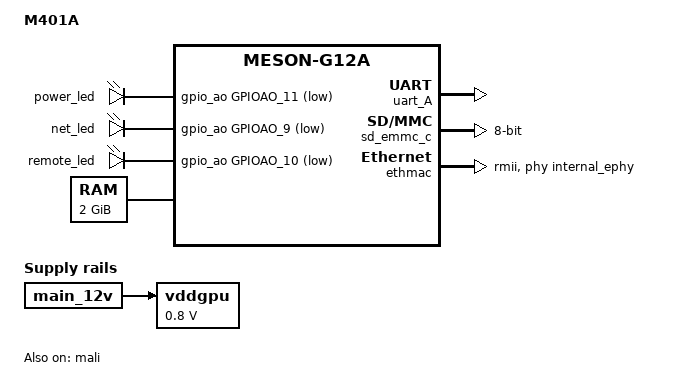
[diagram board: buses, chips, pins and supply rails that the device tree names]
// SPDX-License-Identifier: (GPL-2.0+ OR MIT)
/*
 * Copyright (c) 2018 Amlogic, Inc. All rights reserved.
 * Create by janko888 2022/11/27
 */
 
/dts-v1/;

#include "meson-g12a-u200.dts"

/ {
	compatible = "m401a", "amlogic,g12a";
	model = "M401A";
	
	aliases {
		serial1 = &uart_A;
	};
	
	vddgpu: regulator-vddgpu {
		compatible = "regulator-fixed";
		regulator-name = "mali";
		regulator-min-microvolt = <800000>;
		regulator-max-microvolt = <800000>;
		vin-supply = <&main_12v>;
		regulator-boot-on;
		regulator-always-on;
	};
	
	leds {
		compatible = "gpio-leds";

		power_led {
			led_name = "power_led";
			gpios = <&gpio_ao GPIOAO_11 GPIO_ACTIVE_LOW>;
			default-state = "on";
		};

		net_led {
			led_name = "net_led";
			gpios = <&gpio_ao GPIOAO_9 GPIO_ACTIVE_LOW>;
			default-state = "off";
			linux,default-trigger = "0.0:00:link";
		};

		remote_led {
			led_name = "remote_led";
			gpios = <&gpio_ao GPIOAO_10 GPIO_ACTIVE_LOW>;
			default-state = "off";
			linux,default-trigger = "rc-feedback";
		};
	};

	memory@0 {
		device_type = "memory";
		reg = <0x0 0x0 0x0 0x80000000>;
	};
};

&uart_A {
	status = "okay";
	pinctrl-0 = <&uart_a_pins>, <&uart_a_cts_rts_pins>;
	uart-has-rtscts;
	pinctrl-names = "default";
};

&mali {
	status = "okay";
	mali-supply = <&vddgpu>;
};

/* SD card */
/* No SD card in M401A */
&sd_emmc_b {
	status = "disabled";
	bus-width = <4>;
	cap-sd-highspeed;
	max-frequency = <50000000>;
};

/* eMMC */
&sd_emmc_c {
	status = "okay";
	bus-width = <8>;
	cap-mmc-highspeed;
	mmc-ddr-1_8v;
	mmc-hs200-1_8v;
	max-frequency = <100000000>;
};

/* CPU Overclock */
&cpu_opp_table {
	opp-100000000 {
		opp-hz = /bits/ 64 <100000000>;
		opp-microvolt = <731000>;
	};

	opp-250000000 {
		opp-hz = /bits/ 64 <250000000>;
		opp-microvolt = <731000>;
	};
	
	opp-500000000 {
		opp-hz = /bits/ 64 <500000000>;
		opp-microvolt = <731000>;
	};

	opp-667000000 {
		opp-hz = /bits/ 64 <667000000>;
		opp-microvolt = <731000>;
	};
	
	opp-1000000000 {
		opp-hz = /bits/ 64 <1000000000>;
		opp-microvolt = <731000>;
	};

	opp-1200000000 {
		opp-hz = /bits/ 64 <1200000000>;
		//opp-microvolt = <731000>;
		opp-microvolt = <761000>;
	};

	opp-1398000000 {
		opp-hz = /bits/ 64 <1398000000>;
		//opp-microvolt = <761000>;
		opp-microvolt = <791000>;
	};

	opp-1512000000 {
		opp-hz = /bits/ 64 <1512000000>;
		//opp-microvolt = <791000>;
		opp-microvolt = <831000>;
	};

	opp-1608000000 {
		opp-hz = /bits/ 64 <1608000000>;
		//opp-microvolt = <831000>;
		opp-microvolt = <871000>;
	};

	opp-1704000000 {
		opp-hz = /bits/ 64 <1704000000>;
		//opp-microvolt = <861000>;
		opp-microvolt = <921000>;
	};
	
	/* some soc has crash under 1800 */
	opp-1800000000 {
		opp-hz = /bits/ 64 <1800000000>;
		opp-microvolt = <981000>;
		status = "disabled";
	};
		
};

&internal_ephy  {
	max-speed = <100>;
};

&ethmac {
	/delete-property/ resets;
	/delete-property/ reset-names;
	phy-handle = <&internal_ephy>;
	phy-mode = "rmii";
	status = "okay";
};
